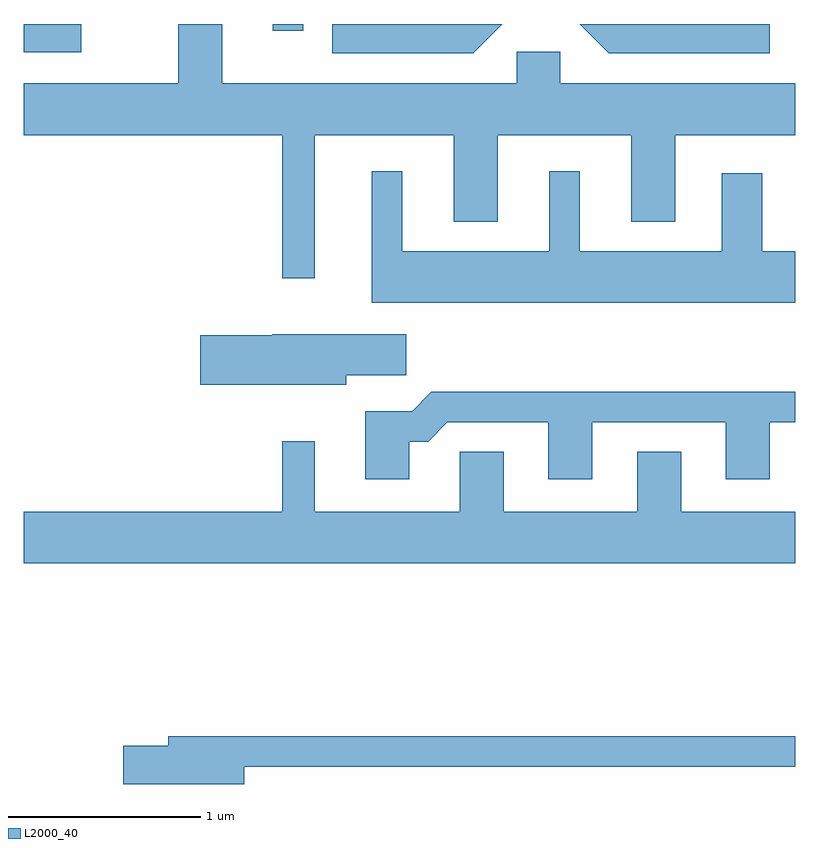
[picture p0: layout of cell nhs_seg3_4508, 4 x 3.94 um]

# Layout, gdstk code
import gdstk
lib = gdstk.Library(unit=1e-6, precision=1e-09)
def R(c, l, rs):  # rectangles x0, y0, x1, y1
    for r in rs: c.add(gdstk.rectangle(r[:2], r[2:], *l))
def P(c, l, *ps):  # polygons
    for p in ps: c.add(gdstk.Polygon(p, *l))
L2000_40 = (2000, 40)

nhs_seg3_4508 = lib.new_cell('nhs_seg3_4508')
R(nhs_seg3_4508, L2000_40, [(317.611,1159.746,317.908,1159.892), (318.901,1159.858,319.059,1159.892)])
P(nhs_seg3_4508, L2000_40, [(319.119,1159.316),(319.841,1159.316),(319.841,1158.866),(320.069,1158.866),(320.069,1159.316),(320.761,1159.316),(320.761,1158.866),(320.989,1158.866),(320.989,1159.316),(321.611,1159.316),(321.611,1159.584),(320.394,1159.584),(320.394,1159.749),(320.166,1159.749),(320.166,1159.584),(318.639,1159.584),(318.639,1159.892),(318.411,1159.892),(318.411,1159.584),(317.611,1159.584),(317.611,1159.316),(318.951,1159.316),(318.951,1158.573),(319.119,1158.573)],
  [(320.093,1159.892),(319.211,1159.892),(319.211,1159.741),(319.942,1159.741)],
  [(321.479,1159.892),(320.493,1159.892),(320.644,1159.741),(321.479,1159.741)],
  [(321.611,1158.714),(321.439,1158.714),(321.439,1159.119),(321.231,1159.119),(321.231,1158.714),(320.494,1158.714),(320.494,1159.128),(320.336,1159.128),(320.336,1158.714),(319.574,1158.714),(319.574,1159.128),(319.416,1159.128),(319.416,1158.446),(321.611,1158.446)],
  [(319.284,1158.071),(319.594,1158.071),(319.594,1158.284),(318.9,1158.284),(318.9,1158.279),(318.526,1158.279),(318.526,1158.021),(319.284,1158.021)],
  [(319.609,1157.726),(319.707,1157.726),(319.807,1157.826),(320.331,1157.826),(320.331,1157.531),(320.559,1157.531),(320.559,1157.826),(321.251,1157.826),(321.251,1157.531),(321.479,1157.531),(321.479,1157.826),(321.611,1157.826),(321.611,1157.984),(319.724,1157.984),(319.624,1157.884),(319.381,1157.884),(319.381,1157.531),(319.609,1157.531)],
  [(321.611,1157.364),(321.019,1157.364),(321.019,1157.674),(320.791,1157.674),(320.791,1157.364),(320.099,1157.364),(320.099,1157.674),(319.871,1157.674),(319.871,1157.364),(319.119,1157.364),(319.119,1157.728),(318.951,1157.728),(318.951,1157.364),(317.611,1157.364),(317.611,1157.096),(321.611,1157.096)],
  [(318.754,1156.041),(321.611,1156.041),(321.611,1156.199),(318.361,1156.199),(318.361,1156.149),(318.126,1156.149),(318.126,1155.951),(318.754,1155.951)])

lib.write_gds('nhs_seg3_4508.gds')
